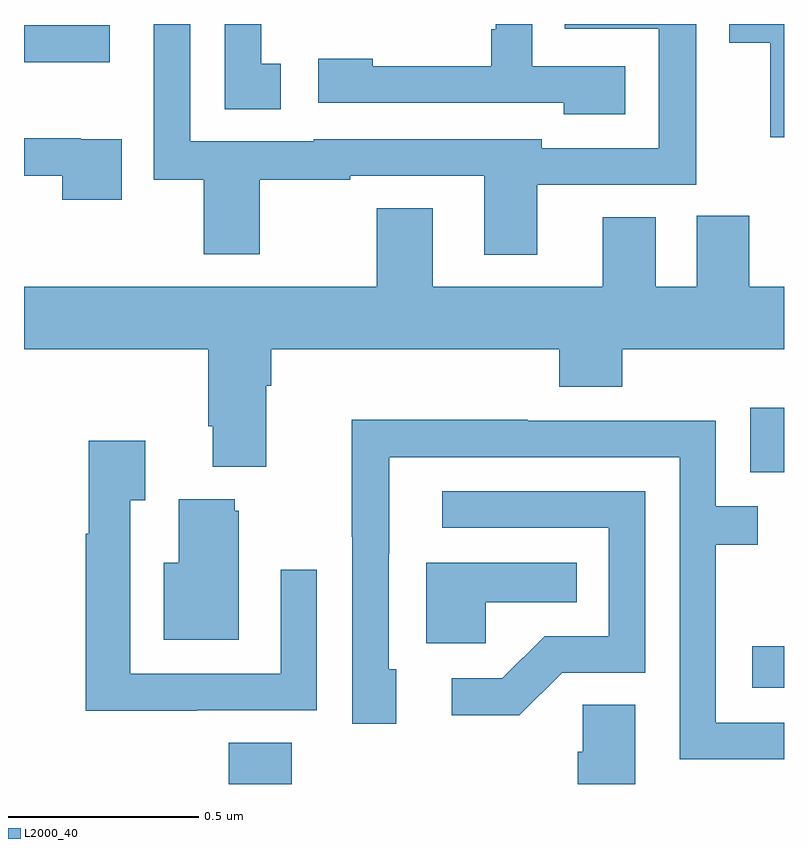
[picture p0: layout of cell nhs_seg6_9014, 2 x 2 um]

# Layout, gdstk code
import gdstk
lib = gdstk.Library(unit=1e-6, precision=1e-09)
def R(c, l, rs):  # rectangles x0, y0, x1, y1
    for r in rs: c.add(gdstk.rectangle(r[:2], r[2:], *l))
def P(c, l, *ps):  # polygons
    for p in ps: c.add(gdstk.Polygon(p, *l))
L2000_40 = (2000, 40)

nhs_seg6_9014 = lib.new_cell('nhs_seg6_9014')
R(nhs_seg6_9014, L2000_40, [(228.539,971.5,228.704,971.609), (229.917,971.753,230,971.863), (229.911,972.321,230,972.49), (228,973.4,228.226,973.497)])
P(nhs_seg6_9014, L2000_40, [(230,973.5),(229.856,973.5),(229.856,973.451),(229.964,973.451),(229.964,973.202),(230,973.202)],
  [(229.351,973.077),(229.769,973.077),(229.769,973.5),(229.423,973.5),(229.423,973.487),(229.671,973.487),(229.671,973.173),(229.362,973.173),(229.362,973.197),(228.762,973.197),(228.762,973.191),(228.438,973.191),(228.438,973.5),(228.342,973.5),(228.342,973.09),(228.473,973.09),(228.473,972.894),(228.621,972.894),(228.621,973.09),(228.858,973.09),(228.858,973.101),(229.211,973.101),(229.211,972.893),(229.351,972.893)],
  [(228.676,973.395),(228.624,973.395),(228.624,973.5),(228.528,973.5),(228.528,973.276),(228.676,973.276)],
  [(229.582,973.389),(229.338,973.389),(229.338,973.5),(229.242,973.5),(229.242,973.486),(229.23,973.486),(229.23,973.389),(228.918,973.389),(228.918,973.408),(228.774,973.408),(228.774,973.293),(229.421,973.293),(229.421,973.262),(229.582,973.262)],
  [(228.257,973.197),(228.149,973.197),(228.149,973.199),(228,973.199),(228,973.101),(228.101,973.101),(228.101,973.038),(228.257,973.038)],
  [(229.523,972.808),(229.075,972.808),(229.075,973.015),(228.928,973.015),(228.928,972.808),(228,972.808),(228,972.644),(228.485,972.644),(228.485,972.442),(228.497,972.442),(228.497,972.335),(228.637,972.335),(228.637,972.548),(228.65,972.548),(228.65,972.644),(229.409,972.644),(229.409,972.545),(229.574,972.545),(229.574,972.644),(230,972.644),(230,972.808),(229.909,972.808),(229.909,972.996),(229.77,972.996),(229.77,972.808),(229.663,972.808),(229.663,972.992),(229.523,972.992)],
  [(230,971.661),(229.821,971.661),(229.821,972.13),(229.931,972.13),(229.931,972.231),(229.821,972.231),(229.821,972.456),(229.325,972.456),(229.325,972.458),(228.862,972.458),(228.862,972.151),(228.864,972.151),(228.864,971.658),(228.979,971.658),(228.979,971.802),(228.96,971.802),(228.96,972.106),(228.961,972.106),(228.961,972.36),(229.725,972.36),(229.725,971.565),(230,971.565)],
  [(228.455,971.694),(228.771,971.694),(228.771,972.064),(228.675,972.064),(228.675,971.79),(228.279,971.79),(228.279,972.247),(228.319,972.247),(228.319,972.403),(228.171,972.403),(228.171,972.158),(228.163,972.158),(228.163,971.693),(228.455,971.693)],
  [(229.416,971.793),(229.635,971.793),(229.635,972.27),(229.101,972.27),(229.101,972.174),(229.539,972.174),(229.539,971.889),(229.37,971.889),(229.259,971.778),(229.125,971.778),(229.125,971.681),(229.303,971.681)],
  [(228.565,972.219),(228.554,972.219),(228.554,972.25),(228.407,972.25),(228.407,972.082),(228.368,972.082),(228.368,971.879),(228.565,971.879)],
  [(229.215,971.978),(229.454,971.978),(229.454,972.082),(229.058,972.082),(229.058,971.87),(229.215,971.87)],
  [(229.609,971.708),(229.47,971.708),(229.47,971.585),(229.457,971.585),(229.457,971.5),(229.609,971.5)])

lib.write_gds('nhs_seg6_9014.gds')
